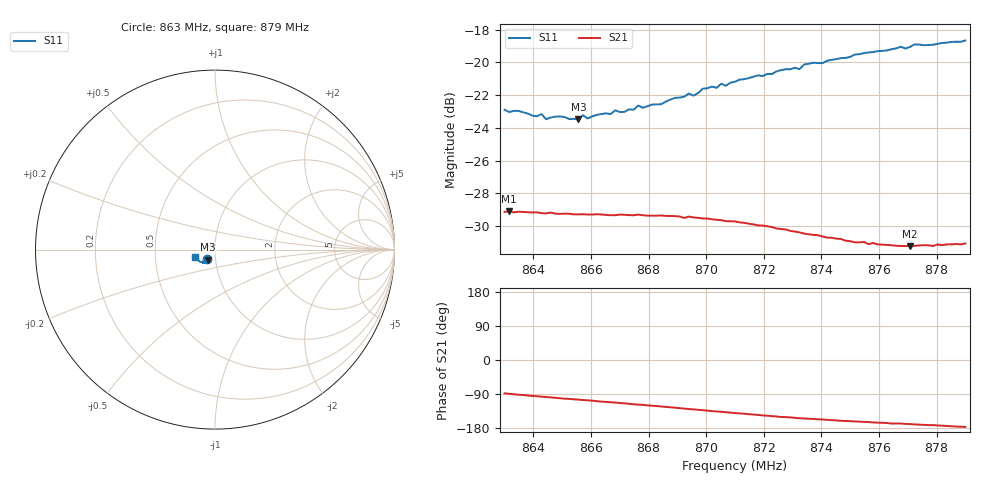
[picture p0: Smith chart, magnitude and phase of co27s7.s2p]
# HZ S RI R 50
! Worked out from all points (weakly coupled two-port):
!   101 points, 863 MHz to 879 MHz, reference 50 ohm
!   highest |S21| = -29.10 dB at 863.16 MHz (marker M1); lowest = -31.2 dB at 877.08 MHz (marker M2)
!   lowest |S11| = -23.5 dB at 865.56 MHz (marker M3), VSWR 1.14, Z = 46.1 - j5.14 ohm
!   |S11| at or under -10 dB: start of sweep to end of sweep
!   S12 and S22 are empty: the file has one direction only
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8.63e8  -0.0462 -0.0547  0.00124 -0.0349  0 0  0 0
8.6316e8  -0.0453 -0.0541  0.000395 -0.0351  0 0  0 0
8.6428e8  -0.0405 -0.0565  -0.00414 -0.0344  0 0  0 0
8.6444e8  -0.04 -0.0538  -0.00458 -0.0343  0 0  0 0
8.6492e8  -0.0423 -0.0537  -0.00649 -0.0338  0 0  0 0
8.6556e8  -0.0375 -0.0554  -0.00863 -0.0332  0 0  0 0
8.6572e8  -0.0366 -0.0584  -0.00924 -0.0331  0 0  0 0
8.6588e8  -0.0373 -0.0562  -0.00973 -0.0329  0 0  0 0
8.6684e8  -0.0372 -0.0609  -0.013 -0.0316  0 0  0 0
8.6748e8  -0.036 -0.062  -0.0155 -0.0304  0 0  0 0
8.6764e8  -0.0383 -0.0631  -0.0159 -0.0304  0 0  0 0
8.6844e8  -0.0382 -0.064  -0.0184 -0.0287  0 0  0 0
8.694e8  -0.0409 -0.0691  -0.0215 -0.0261  0 0  0 0
8.6956e8  -0.0416 -0.0673  -0.0218 -0.0256  0 0  0 0
8.6988e8  -0.0438 -0.0706  -0.0225 -0.0246  0 0  0 0
8.71e8  -0.049 -0.0722  -0.0251 -0.021  0 0  0 0
8.7276e8  -0.0615 -0.0728  -0.0269 -0.0151  0 0  0 0
8.7324e8  -0.0633 -0.0713  -0.0272 -0.0134  0 0  0 0
8.7372e8  -0.0678 -0.0731  -0.0271 -0.0123  0 0  0 0
8.7644e8  -0.0914 -0.0606  -0.027 -0.00585  0 0  0 0
8.7708e8  -0.0965 -0.0559  -0.027 -0.00523  0 0  0 0
8.79e8  -0.11 -0.0388  -0.0279 -0.00169  0 0  0 0
